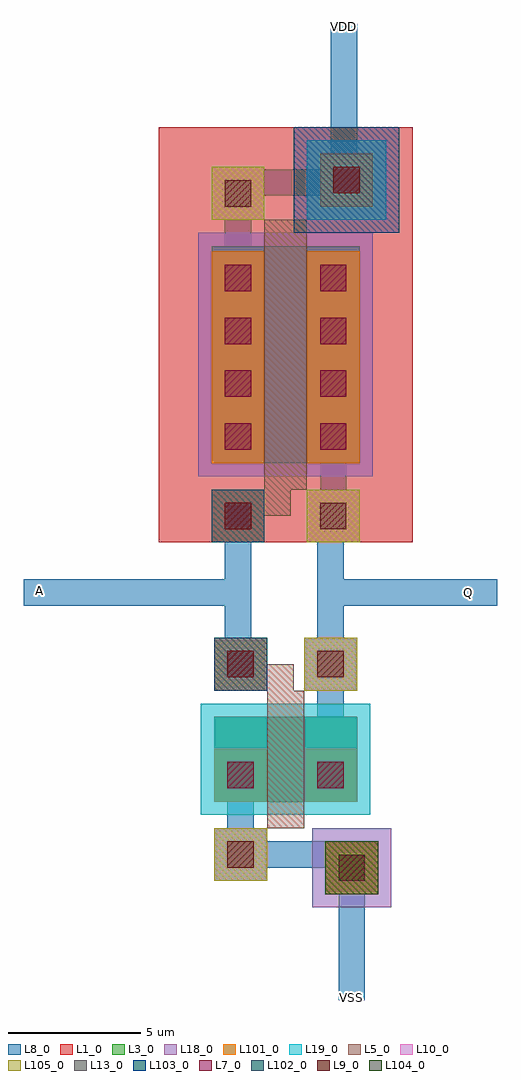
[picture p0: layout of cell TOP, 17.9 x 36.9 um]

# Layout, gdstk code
import gdstk
lib = gdstk.Library(unit=1e-6, precision=1e-07)
def R(c, l, rs):  # rectangles x0, y0, x1, y1
    for r in rs: c.add(gdstk.rectangle(r[:2], r[2:], *l))
L1_0 = (1, 0)
L3_0 = (3, 0)
L5_0 = (5, 0)
L7_0 = (7, 0)
L8_0 = (8, 0)
L9_0 = (9, 0)
L10_0 = (10, 0)
L13_0 = (13, 0)
L18_0 = (18, 0)
L19_0 = (19, 0)
L101_0 = (101, 0)
L102_0 = (102, 0)
L103_0 = (103, 0)
L104_0 = (104, 0)
L105_0 = (105, 0)

dcont = lib.new_cell('dcont')
R(dcont, L3_0, [(-1,-1,1,1)])
R(dcont, L7_0, [(-0.5,-0.5,0.5,0.5)])
R(dcont, L8_0, [(-1,-1,1,1)])
R(dcont, L13_0, [(-0.5,-0.5,0.5,0.5)])
R(dcont, L101_0, [(-1,-1,1,1)])

pcont = lib.new_cell('pcont')
R(pcont, L5_0, [(-1,-1,1,1)])
R(pcont, L7_0, [(-0.5,-0.5,0.5,0.5)])
R(pcont, L8_0, [(-1,-1,1,1)])
R(pcont, L13_0, [(-0.5,-0.5,0.5,0.5)])
R(pcont, L102_0, [(-1,-1,1,1)])

via = lib.new_cell('Via')
R(via, L8_0, [(-1,-1,1,1)])
R(via, L9_0, [(-0.5,-0.5,0.5,0.5)])
R(via, L10_0, [(-1,-1,1,1)])
R(via, L13_0, [(-0.5,-0.5,0.5,0.5)])
R(via, L105_0, [(-1,-1,1,1)])

dcont1 = lib.new_cell('dcont1')
R(dcont1, L3_0, [(-1,-1,1,1)])
R(dcont1, L7_0, [(-0.5,-0.5,0.5,0.5)])
R(dcont1, L8_0, [(-1,-1,1,1)])
R(dcont1, L13_0, [(-0.5,-0.5,0.5,0.5)])
R(dcont1, L101_0, [(-1,-1,1,1)])

nsubcont = lib.new_cell('nsubcont')
R(nsubcont, L1_0, [(-2,-2,2,2)])
R(nsubcont, L19_0, [(-1.5,-1.5,1.5,1.5)])
R(nsubcont, L103_0, [(-2,-2,2,2)])
nsubcont.add(gdstk.Reference(dcont1, (0,0)))

pch_1 = lib.new_cell('Pch$1')
R(pch_1, L1_0, [(-2,0,7.6,15.7)])
R(pch_1, L3_0, [(0,3,5.6,11.2)])
R(pch_1, L18_0, [(-0.5,2.5,6.1,11.7)])
pch_1.add(gdstk.FlexPath([(1,3),(1,11.2)], 2, ends="flush", simple_path=True, layer=8, datatype=0))  # L8_0
pch_1.add(gdstk.FlexPath([(4.6,3),(4.6,11.2)], 2, ends="flush", simple_path=True, layer=8, datatype=0))  # L8_0
pch_1.add(gdstk.FlexPath([(1,10.2),(1,13.2)], 1, ends="flush", simple_path=True, layer=8, datatype=0))  # L8_0
pch_1.add(gdstk.FlexPath([(4.6,1),(4.6,4)], 1, ends="flush", simple_path=True, layer=8, datatype=0))  # L8_0
pch_1.add(gdstk.FlexPath([(2.8,3),(2.8,11.2)], 1.6, ends=(1, 1), simple_path=True, layer=5, datatype=0))  # L5_0
pch_1.add(gdstk.FlexPath([(1,1.5),(2.5,1.5),(2.5,2)], 1, ends="flush", simple_path=True, layer=5, datatype=0))  # L5_0
pch_1.add(gdstk.Reference(dcont, (1,4)))
pch_1.add(gdstk.Reference(dcont, (1,6)))
pch_1.add(gdstk.Reference(dcont, (1,8)))
pch_1.add(gdstk.Reference(dcont, (1,10)))
pch_1.add(gdstk.Reference(dcont, (4.6,4)))
pch_1.add(gdstk.Reference(dcont, (4.6,6)))
pch_1.add(gdstk.Reference(dcont, (4.6,8)))
pch_1.add(gdstk.Reference(dcont, (4.6,10)))
pch_1.add(gdstk.Reference(pcont, (1,1)))
pch_1.add(gdstk.Reference(via, (1,1)))
pch_1.add(gdstk.Reference(via, (1,13.2)))
pch_1.add(gdstk.Reference(via, (4.6,1)))
pch_1.add(gdstk.Reference(nsubcont, (5.1,13.7)))
pch_1.add(gdstk.Reference(via, (5.1,13.7)))

psubcont = lib.new_cell('psubcont')
R(psubcont, L18_0, [(-1.5,-1.5,1.5,1.5)])
R(psubcont, L104_0, [(-1,-1,1,1)])
psubcont.add(gdstk.Reference(dcont1, (0,0)))

nch = lib.new_cell('Nch')
R(nch, L3_0, [(0,3,5.4,6.2)])
R(nch, L19_0, [(-0.5,2.5,5.9,6.7)])
nch.add(gdstk.FlexPath([(1,3),(1,6.2)], 2, ends="flush", simple_path=True, layer=8, datatype=0))  # L8_0
nch.add(gdstk.FlexPath([(4.4,3),(4.4,6.2)], 2, ends="flush", simple_path=True, layer=8, datatype=0))  # L8_0
nch.add(gdstk.FlexPath([(1,1),(1,4)], 1, ends="flush", simple_path=True, layer=8, datatype=0))  # L8_0
nch.add(gdstk.FlexPath([(4.4,5.2),(4.4,8.2)], 1, ends="flush", simple_path=True, layer=8, datatype=0))  # L8_0
nch.add(gdstk.FlexPath([(2.7,3),(2.7,6.2)], 1.4, ends=(1, 1), simple_path=True, layer=5, datatype=0))  # L5_0
nch.add(gdstk.FlexPath([(1,7.7),(2.5,7.7),(2.5,7.2)], 1, ends="flush", simple_path=True, layer=5, datatype=0))  # L5_0
nch.add(gdstk.Reference(dcont, (1,4)))
nch.add(gdstk.Reference(dcont, (4.4,4)))
nch.add(gdstk.Reference(pcont, (1,8.2)))
nch.add(gdstk.Reference(via, (1,8.2)))
nch.add(gdstk.Reference(via, (1,1)))
nch.add(gdstk.Reference(via, (4.4,8.2)))
nch.add(gdstk.Reference(psubcont, (5.2,0.5)))
nch.add(gdstk.Reference(via, (5.2,0.5)))

top = lib.new_cell('TOP')
top.add(gdstk.FlexPath([(20.2,5),(20.2,11)], 1, ends="flush", simple_path=True, layer=8, datatype=0))  # L8_0
top.add(gdstk.FlexPath([(20.3,5),(16.2,5),(16.2,4.1)], 1, ends="flush", simple_path=True, layer=8, datatype=0))  # L8_0
top.add(gdstk.FlexPath([(19.7,-7.7),(19.7,-13.7)], 1, ends="flush", simple_path=True, layer=8, datatype=0))  # L8_0
top.add(gdstk.FlexPath([(16.2,-7.6),(16.2,-13),(16.8,-13)], 1, ends="flush", simple_path=True, layer=8, datatype=0))  # L8_0
top.add(gdstk.FlexPath([(16.3,-20.4),(20.5,-20.4),(20.5,-21.4)], 1, ends="flush", simple_path=True, layer=8, datatype=0))  # L8_0
top.add(gdstk.FlexPath([(19.7,-10.5),(26,-10.5)], 1, ends="flush", simple_path=True, layer=8, datatype=0))  # L8_0
top.add(gdstk.FlexPath([(16.2,-10.5),(8.1,-10.5)], 1, ends="flush", simple_path=True, layer=8, datatype=0))  # L8_0
top.add(gdstk.FlexPath([(20.5,-20.9),(20.5,-25.9)], 1, ends="flush", simple_path=True, layer=8, datatype=0))  # L8_0
top.add(gdstk.Reference(pch_1, (15.2,-8.6)))
top.add(gdstk.Reference(nch, (15.3,-21.4)))
top.add(gdstk.Label('Q', (24.9,-10.5), layer=8, texttype=0))
top.add(gdstk.Label('A', (8.7,-10.4), layer=8, texttype=0))
top.add(gdstk.Label('VDD', (20.2,10.9), layer=8, texttype=0))
top.add(gdstk.Label('VSS', (20.5,-25.8), layer=8, texttype=0))

lib.write_gds('TOP.gds')
